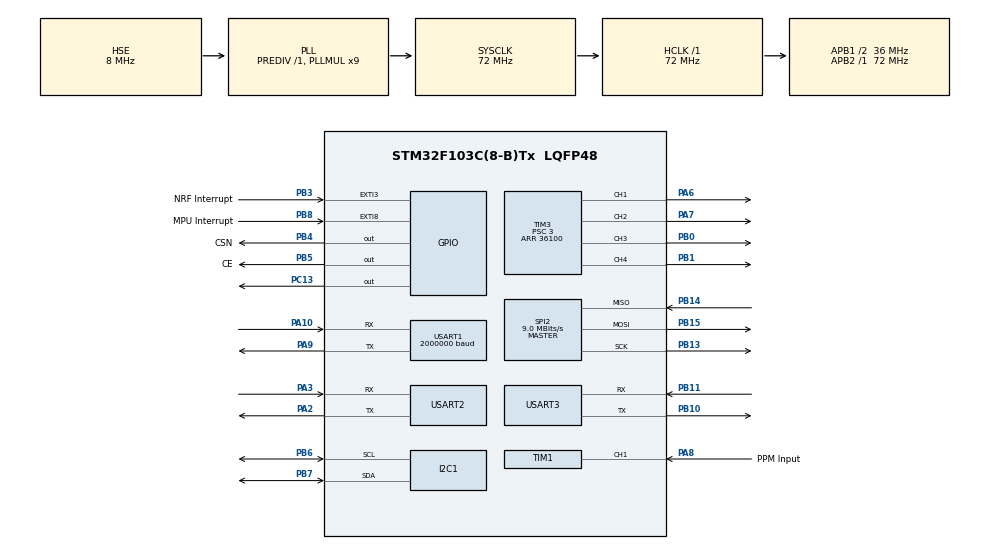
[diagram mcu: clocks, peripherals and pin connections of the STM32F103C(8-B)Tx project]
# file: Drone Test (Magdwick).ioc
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Dma.I2C1_RX.0.Direction=DMA_PERIPH_TO_MEMORY
Dma.I2C1_RX.0.Instance=DMA1_Channel7
Dma.I2C1_RX.0.MemDataAlignment=DMA_MDATAALIGN_BYTE
Dma.I2C1_RX.0.MemInc=DMA_MINC_ENABLE
Dma.I2C1_RX.0.Mode=DMA_NORMAL
Dma.I2C1_RX.0.PeriphDataAlignment=DMA_PDATAALIGN_BYTE
Dma.I2C1_RX.0.PeriphInc=DMA_PINC_DISABLE
Dma.I2C1_RX.0.Priority=DMA_PRIORITY_LOW
Dma.I2C1_TX.1.Direction=DMA_MEMORY_TO_PERIPH
Dma.I2C1_TX.1.Instance=DMA1_Channel6
Dma.I2C1_TX.1.MemDataAlignment=DMA_MDATAALIGN_BYTE
Dma.I2C1_TX.1.MemInc=DMA_MINC_ENABLE
Dma.I2C1_TX.1.Mode=DMA_NORMAL
Dma.I2C1_TX.1.PeriphDataAlignment=DMA_PDATAALIGN_BYTE
Dma.I2C1_TX.1.PeriphInc=DMA_PINC_DISABLE
Dma.I2C1_TX.1.Priority=DMA_PRIORITY_LOW
Dma.Request0=I2C1_RX
Dma.Request1=I2C1_TX
I2C1.I2C_Mode=I2C_Fast
Mcu.Family=STM32F1
Mcu.Name=STM32F103C(8-B)Tx
Mcu.Package=LQFP48
NVIC.DMA1_Channel6_IRQn=true\:0\:0\:false\:false\:true\:false\:true
NVIC.DMA1_Channel7_IRQn=true\:0\:0\:false\:false\:true\:false\:true
NVIC.EXTI3_IRQn=true\:0\:0\:false\:false\:true\:true\:true
NVIC.EXTI9_5_IRQn=true\:0\:0\:false\:false\:true\:true\:true
NVIC.PriorityGroup=NVIC_PRIORITYGROUP_4
NVIC.TIM1_CC_IRQn=true\:0\:0\:false\:false\:true\:true\:true
PA10.Mode=Asynchronous
PA10.Signal=USART1_RX
PA13.Mode=Serial_Wire
PA13.Signal=SYS_JTMS-SWDIO
PA14.Mode=Serial_Wire
PA14.Signal=SYS_JTCK-SWCLK
PA2.Mode=Asynchronous
PA2.Signal=USART2_TX
PA3.Mode=Asynchronous
PA3.Signal=USART2_RX
PA6.Signal=S_TIM3_CH1
PA7.Signal=S_TIM3_CH2
PA8.GPIO_Label=PPM Input
PA8.Signal=S_TIM1_CH1
PA9.Mode=Asynchronous
PA9.Signal=USART1_TX
PB0.Signal=S_TIM3_CH3
PB1.Signal=S_TIM3_CH4
PB10.Mode=Asynchronous
PB10.Signal=USART3_TX
PB11.Mode=Asynchronous
PB11.Signal=USART3_RX
PB13.Mode=Full_Duplex_Master
PB13.Signal=SPI2_SCK
PB14.Mode=Full_Duplex_Master
PB14.Signal=SPI2_MISO
PB15.Mode=Full_Duplex_Master
PB15.Signal=SPI2_MOSI
PB3.GPIO_Label=NRF Interrupt
PB3.Signal=GPXTI3
PB4.GPIO_Label=CSN
PB4.Signal=GPIO_Output
PB5.GPIO_Label=CE
PB5.Signal=GPIO_Output
PB6.Mode=I2C
PB6.Signal=I2C1_SCL
PB7.Mode=I2C
PB7.Signal=I2C1_SDA
PB8.GPIO_Label=MPU Interrupt
PB8.Signal=GPXTI8
PC13-TAMPER-RTC.Signal=GPIO_Output
PD0-OSC_IN.Mode=HSE-External-Oscillator
PD0-OSC_IN.Signal=RCC_OSC_IN
PD1-OSC_OUT.Mode=HSE-External-Oscillator
PD1-OSC_OUT.Signal=RCC_OSC_OUT
ProjectManager.HeapSize=0x200
ProjectManager.StackSize=0x400
ProjectManager.TargetToolchain=MDK-ARM V5
RCC.AHBFreq_Value=72000000
RCC.APB1CLKDivider=RCC_HCLK_DIV2
RCC.APB1Freq_Value=36000000
RCC.APB1TimFreq_Value=72000000
RCC.APB2Freq_Value=72000000
RCC.APB2TimFreq_Value=72000000
RCC.HCLKFreq_Value=72000000
RCC.PLLMUL=RCC_PLL_MUL9
RCC.PLLSourceVirtual=RCC_PLLSOURCE_HSE
RCC.SYSCLKFreq_VALUE=72000000
RCC.SYSCLKSource=RCC_SYSCLKSOURCE_PLLCLK
RCC.USBFreq_Value=48000000
RCC.USBPrescaler=RCC_USBCLKSOURCE_PLL_DIV1_5
SH.S_TIM1_CH1.0=TIM1_CH1,Input_Capture1_from_TI1
SH.S_TIM3_CH1.0=TIM3_CH1,PWM Generation1 CH1
SH.S_TIM3_CH2.0=TIM3_CH2,PWM Generation2 CH2
SH.S_TIM3_CH3.0=TIM3_CH3,PWM Generation3 CH3
SH.S_TIM3_CH4.0=TIM3_CH4,PWM Generation4 CH4
SPI2.BaudRatePrescaler=SPI_BAUDRATEPRESCALER_4
SPI2.CalculateBaudRate=9.0 MBits/s
SPI2.Direction=SPI_DIRECTION_2LINES
SPI2.Mode=SPI_MODE_MASTER
SPI2.VirtualType=VM_MASTER
TIM1.Channel-Input_Capture1_from_TI1=TIM_CHANNEL_1
TIM1.ICFilter_CH1=15
TIM1.Period=65535
TIM1.Prescaler=71
TIM2.Period=18100
TIM3.Channel-PWM\ Generation1\ CH1=TIM_CHANNEL_1
TIM3.Channel-PWM\ Generation2\ CH2=TIM_CHANNEL_2
TIM3.Channel-PWM\ Generation3\ CH3=TIM_CHANNEL_3
TIM3.Channel-PWM\ Generation4\ CH4=TIM_CHANNEL_4
TIM3.OCMode_PWM-PWM\ Generation1\ CH1=TIM_OCMODE_PWM1
TIM3.OCMode_PWM-PWM\ Generation2\ CH2=TIM_OCMODE_PWM1
TIM3.OCMode_PWM-PWM\ Generation3\ CH3=TIM_OCMODE_PWM1
TIM3.OCMode_PWM-PWM\ Generation4\ CH4=TIM_OCMODE_PWM1
TIM3.Period=36100
TIM3.Prescaler=3
USART1.BaudRate=2000000
USART1.VirtualMode=VM_ASYNC
USART2.VirtualMode=VM_ASYNC
USART3.VirtualMode=VM_ASYNC
VP_TIM1_VS_ClockSourceINT.Mode=Internal
VP_TIM2_VS_OPM.Mode=OPM_bit
VP_TIM3_VS_ClockSourceINT.Mode=Internal
board=custom

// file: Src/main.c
/* USER CODE BEGIN Header */
/**
  ******************************************************************************
  * @file           : main.c
  * @brief          : Main program body
  ******************************************************************************
  * @attention
  *
  * <h2><center>&copy; Copyright (c) 2020 STMicroelectronics.
  * All rights reserved.</center></h2>
  *
  * This software component is licensed by ST under BSD 3-Clause license,
  * the "License"; You may not use this file except in compliance with the
  * License. You may obtain a copy of the License at:
  *                        opensource.org/licenses/BSD-3-Clause
  *
  ******************************************************************************
  */
/* USER CODE END Header */

#include "main.h"

/* USER CODE BEGIN Includes */
#include "MadgwickAHRS.h"
#include <math.h>
#include "string.h"
#include "MY_NRF24.h"
#include "string.h"
#include "stdio.h"

/* USER CODE END Includes */

/* USER CODE BEGIN PTD */

typedef struct{
	float p;
	float i;
	float d;
  float tpa_const;
	float i_range;
	float error; //private
	float last_error; //private
	uint64_t current_micros; //private
	uint64_t last_micros; //private
	float elapsed_seconds; //private
}PID_TypeDef;

typedef enum{
	MPU_Slave_Number_0 = 0,
	MPU_Slave_Number_1 = 1,
	MPU_Slave_Number_2 = 2,
	MPU_Slave_Number_3 = 3,
	MPU_Slave_RW_Read = 0x1U,
	MPU_Slave_RW_Write = 0x0U,
	MPU_Slave_RW_Default = 0x0U,
	MPU_Slave_Enable = 0x1U,
	MPU_Slave_Disable = 0x0U,
	MPU_Slave_Byte_Swapping_EN = 0x1U,
	MPU_Slave_Byte_Swapping_DIS = 0x0U,
	MPU_Slave_Byte_Swapping_Default = 0x0U,
	MPU_Slave_REG_DIS_Default = 0x0U,
	MPU_Slave_Byte_Grouping_Even_Odd = 0x0U,
	MPU_Slave_Byte_Grouping_Odd_Even = 0x1U,
	MPU_Slave_Byte_Grouping_Default = 0x0U
}MPU_Slave_StatusTypeDef;

typedef struct{
	uint8_t Slave_Number;//Specifies which slave is used. This struct is for Slave 0 to Slave 3. Slave 4 not yet supported.
	bool RW; //slave read/write select
	uint8_t Periph_Address; //peripheral bus address
	uint8_t Register_Address; //Internal register addess in peripheral to start read from
	bool Slave_Enable; //enables Slave 0 for I2C data transaction
	bool Byte_Swapping; //configures byte swapping of word pairs. When byte swapping is enabled, the high and low bytes of a word pair are swapped.
	bool REG_DIS; //should equal 0 when register address set
	bool Byte_Grouping;//specifies the grouping order of word pairs received from registers
	uint8_t Transfer_Length; //Specifies the number of bytes transferred to and from slave
}MPU_Slave_TypeDef;

typedef enum
{
  Sensor_Read_OK = 0x00U, //everything ok
  Sensor_Read_Error = 0x01U, //fatal error, cant reach sensor
	Sensor_Read_Busy = 0x02U, //fatal error, cant reach sensor
	Sensor_Offset_Measuring = 0x03U, //sensor is offsetting
} Sensor_StatusTypedef;

typedef struct
{
  Sensor_StatusTypedef MPU_Status;
  HAL_StatusTypeDef MPU_Setup_Status;
	Sensor_StatusTypedef BMP_Status;
	HAL_StatusTypeDef BMP_Setup_Status;
	Sensor_StatusTypedef HMC_Status;
	HAL_StatusTypeDef HMC_Setup_Status;
} Sensor_ReturnTypedef;
/* USER CODE END PTD */

/* USER CODE BEGIN PD */
//i2c addresses
#define mpu_i2c_address 0x68
#define bmp_i2c_address 0x76
#define hmc_i2c_address 0x1E

//reciever channel allocations
#define rollIn_ch ch[3]
#define pitchIn_ch ch[1]
#define throttleIn_ch ch[2]
#define yawIn_ch ch[0]

//control endpoints
#define roll_pitch_bankAng_max 30
#define yaw_max_degPsec 200

//hardware peripheral labeling
#define MOTOR_TIMER htim3
/* USER CODE END PD */

I2C_HandleTypeDef hi2c1;
DMA_HandleTypeDef hdma_i2c1_rx;
DMA_HandleTypeDef hdma_i2c1_tx;

SPI_HandleTypeDef hspi2;

TIM_HandleTypeDef htim1;
TIM_HandleTypeDef htim2;
TIM_HandleTypeDef htim3;

UART_HandleTypeDef huart1;
UART_HandleTypeDef huart2;
UART_HandleTypeDef huart3;

/* USER CODE BEGIN PV */
/* Private variables ---------------------------------------------------------*/

//reciever pins connections (top to bottom)
//ppm reciever
//TL motor
//BL motor
//BR motor
//TR motor

_Bool new_data = 0;
_Bool dma_new_receive = 0;
//I2C Variables
uint8_t txBuffer[2];
uint8_t rxBuffer[30];
uint8_t mpu_rx_buffer[26];
int16_t rawData[7];

//Mpu data storage variables
Sensor_ReturnTypedef sensor_status;
float accX, accY, accZ, temp, gyroX, gyroY, gyroZ, gyroX_rad, gyroY_rad, gyroZ_rad; //raw usable data
float accX_raw, accY_raw, accZ_raw, gyroX_raw, gyroY_raw, gyroZ_raw;
float roll, pitch, yaw;
float x_degrees,y_degrees,z_degrees;
float w,x,y,z;

//Mpu settings variables
/*float gyro_sensitivity_scale_factor = 131.0f; //±250deg/s
float gyro_sensitivity_scale_factor = 65.5f; //±500deg/s
float gyro_sensitivity_scale_factor = 32.8f; //±1000deg/s*/
float gyro_sensitivity_scale_factor = 16.4f; //±2000deg/s

/*float acc_sensitivity_scale_factor = 16384.0f; //±2g
float acc_sensitivity_scale_factor = 8192.0f; //±4g
float acc_sensitivity_scale_factor = 4096.0f; //±8g*/
float acc_sensitivity_scale_factor = 2048.0f; //±16g

//Mpu tweaking variables
int32_t gyroX_Offset = 0;
int32_t gyroY_Offset = 0;
int32_t gyroZ_Offset = 0;
float accX_Offset = -45.83873227210463;
float accY_Offset = 315.6486942077451;
float accZ_Offset = -70.77163484576726;
float accX_Scale = 0.997142840160418212890625;
float accY_Scale = 1.0071514293393857421875;
float accZ_Scale = 1.009796179997785986328125;

//Mpu timing variables
unsigned long reading_elapsed_time = 0;
unsigned long reading_last_time = 0;
uint32_t samples = 0;
uint32_t reading_count = 0;
uint32_t this_time = 0;

//Timekeeping Variables
uint16_t loop_freq = 250; //250 hz (desired)
uint32_t loop1_last = 0;
uint32_t loop2_last = 0;
uint32_t loop3_last = 0;
uint32_t loop4_last = 0;
uint32_t loop5_last = 0;
uint32_t time_stamps[8];
//uint32_t loop3_last = 0;
uint32_t system_clock = 0;
uint32_t loop_count = 500;

//Maths variables
const float rad_to_deg = 57.2957795f;
const float deg_to_rad = 1.0f / rad_to_deg;

//nrf24 variables(imported from "NRF24 Tutorial RX" with no changes!)
uint64_t RXpipe_address = 0x11223344AA;
char rx_data[40];
char ack_data[32] = "I have recieved your data";
_Bool nrf24_available = 0;

//ppm reciever input variables
uint32_t ch[8];
uint32_t ch_count = 9;
const uint16_t reciever_low = 996, reciever_mid = 1502, reciever_high = 2016;

//general reciever variables
float receiver_beta = 0.05;//WIP
float rollIn, pitchIn, yawIn, throttleIn;
uint32_t last_signal_micros;
_Bool receiver_signal_loss = 0;

//Pid variables (imported from "Drone Test")
//uint32_t pitch_current_time,pitch_last_time;
//uint32_t roll_current_time,roll_last_time;
//uint32_t yaw_current_time,yaw_last_time;
//double pitch_elapsed_time, roll_elapsed_time, yaw_elapsed_time;
//double pitch_pid_error, pitch_error, pitch_last_error = 0, pitch_p_error, pitch_i_error, pitch_d_error;
//double roll_pid_error, roll_error, roll_last_error = 0, roll_p_error, roll_i_error, roll_d_error;
//double yaw_pid_error, yaw_error, yaw_last_error = 0, yaw_p_error, yaw_i_error, yaw_d_error;
//roll_pid, yaw_pid;
PID_TypeDef pitch_pid, roll_pid, yaw_pid;
#define pM 0.5 //0.5
float pKp =1.5*pM, pKi = 1.5*pM, pKd = 0.5*pM;//1.5 1.5  0.5 (tweak i) (throttle and sticks a bit twitchy)
float rKp = 1.5*pM, rKi = 1.5*pM, rKd = 0.5*pM;
float yKp = 1*pM, yKi = 0.5*pM, yKd = 0*pM;//1 0.5 0 (tweak i)
float tpa_pid_p = 0.14; //reduces pid_p value as throttle increases (0.14)
float pitch_pid_output, roll_pid_output, yaw_pid_output;
#define pid_i_range 10 //10

//Motor variables (ported from "Drone Test")
float motorTR, motorBR, motorBL, motorTL;
const float servo_low = 18000;
const float servo_high = 36000;
bool failsafe = 0;

//Bmp calibration values and constants
uint16_t dig_T1 = 0;
int16_t dig_T2 = 0;
int16_t dig_T3 = 0;
uint16_t dig_P1 = 0;
int16_t dig_P2 = 0;
int16_t dig_P3 = 0;
int16_t dig_P4 = 0;
int16_t dig_P5 = 0;
int16_t dig_P6 = 0;
int16_t dig_P7 = 0;
int16_t dig_P8 = 0;
int16_t dig_P9 = 0;
const float sea_level_press = 101325.0;

//Bmp data
MPU_Slave_TypeDef bmp_slv;
PID_TypeDef altitude_pid;
int32_t temp_raw = 0;
int32_t press_raw = 0;
float pressure, temperature, altitude;

//hmc data
MPU_Slave_TypeDef hmc_slv;
int16_t mag_x_raw = 0, mag_y_raw = 0, mag_z_raw = 0;
float mag_x = 0, mag_y = 0, mag_z = 0;
float hmc_output_scale = 1024.0; //1024 counts/Gauss
const float mag_offset_x = -0.04833999999999994;
const float mag_offset_y = -0.00048800000000004395;
const float mag_offset_z = -0.0449215;
const float mag_scale_x = 0.9557852619889624;
const float mag_scale_y = 1.0583403581326762;
const float mag_scale_z = 0.9912136198171252;

//usb buffer variables (unused)
uint8_t usb_tx_buffer[256];
uint16_t usb_tx_len;

/* USER CODE END PV */

void SystemClock_Config(void);
static void MX_GPIO_Init(void);
static void MX_DMA_Init(void);
static void MX_I2C1_Init(void);
static void MX_USART1_UART_Init(void);
static void MX_SPI2_Init(void);
static void MX_TIM1_Init(void);
static void MX_TIM2_Init(void);
static void MX_USART3_UART_Init(void);
static void MX_TIM3_Init(void);
static void MX_USART2_UART_Init(void);
/* USER CODE BEGIN PFP */
/* Private function prototypes -----------------------------------------------*/

#ifdef __GNUC__
#define PUTCHAR_PROTOTYPE int __io_putchar(int ch)
#else
	#define PUTCHAR_PROTOTYPE int fputc(int ch, FILE *f)
#endif
/* USER CODE END PFP */

/* USER CODE BEGIN 0 */
PUTCHAR_PROTOTYPE{
  HAL_UART_Transmit(&huart1, (uint8_t *)&ch, 1, 0xFFFF);
	return ch;
}
//PUTCHAR_PROTOTYPE  {
//	/*for(int i = 0; i<400; i++){
//		if(CDC_Transmit_FS((uint8_t*)&ch, 1) == USBD_OK)
//		break;
//	}*/
//	while(!(CDC_Transmit_FS((uint8_t*)&ch, 1) == USBD_OK));
//	//while(!(CDC_Transmit_FS((uint8_t*)&ch, 1) == USBD_BUSY));
//	//CDC_Transmit_FS((uint8_t*)&ch, 1);
//	return ch;
//}
float map_v1(float input, float input_low, float input_high, float output_low, float output_high){
	/*if(input<input_low){
		input = input_low;
	}
	else if(input>input_high){
		input = input_high;
	}*/
	return (((input-input_low)/(input_high-input_low))*(output_high-output_low))+output_low;
}
float map_with_midpoint(float input, float input_low, float input_mid, float input_high, float output_low, float output_high){
	float output_mid = (output_high + output_low)/2;
	if(input < input_mid)
		return map_v1(input, input_low, input_mid, output_low, output_mid);
	else if(input_mid <= input )
		return map_v1(input, input_mid, input_high, output_mid, output_high);
}
HAL_StatusTypeDef i2c_device_register_set_verifiy(uint8_t i2c_address, uint8_t register_address, uint8_t data, uint8_t tries){
	uint8_t data_read[1];
	for(int i = 0; i<tries; i++){
		if(HAL_I2C_Mem_Write(&hi2c1, i2c_address<<1, register_address, 1, &data, 1, 100) != HAL_OK){
			printf("i2c tx error\r\n");
		}
		HAL_StatusTypeDef status_rw = HAL_I2C_Mem_Read(&hi2c1, i2c_address<<1, register_address, 1, data_read, 1, 100);
		printf("Status: %i, address: %i, data at the address: %i\r\n", status_rw, register_address, data_read[0]);
		if(data_read[0] == data){
			return HAL_OK;
		}
	}
	if(data_read[0] != data){
			return HAL_ERROR;
	}
}
int32_t compensate_temp(int32_t adc_temp,int32_t *fine_temp) {
	int32_t var1, var2;

	var1 = ((((adc_temp >> 3) - ((int32_t) dig_T1 << 1)))
			* (int32_t) dig_T2) >> 11;
	var2 = (((((adc_temp >> 4) - (int32_t) dig_T1)
			* ((adc_temp >> 4) - (int32_t) dig_T1)) >> 12)
			* (int32_t) dig_T3) >> 14;

	*fine_temp = var1 + var2;
	return (*fine_temp * 5 + 128) >> 8;
}

uint32_t compensate_press(int32_t adc_press,int32_t fine_temp) {
	int64_t var1, var2, p;

	var1 = (int64_t) fine_temp - 128000;
	var2 = var1 * var1 * (int64_t) dig_P6;
	var2 = var2 + ((var1 * (int64_t) dig_P5) << 17);
	var2 = var2 + (((int64_t) dig_P4) << 35);
	var1 = ((var1 * var1 * (int64_t) dig_P3) >> 8)
			+ ((var1 * (int64_t) dig_P2) << 12);
	var1 = (((int64_t) 1 << 47) + var1) * ((int64_t) dig_P1) >> 33;

	if (var1 == 0) {
		return 0;  // avoid exception caused by division by zero
	}

	p = 1048576 - adc_press;
	p = (((p << 31) - var2) * 3125) / var1;
	var1 = ((int64_t) dig_P9 * (p >> 13) * (p >> 13)) >> 25;
	var2 = ((int64_t) dig_P8 * p) >> 19;

	p = ((p + var1 + var2) >> 8) + ((int64_t) dig_P7 << 4);
	return p;
}
void mpu_read(void){
//	if(sensor_status.MPU_Setup_Status == HAL_OK){
//		txBuffer[0] = 0x3B;
//		HAL_StatusTypeDef status = HAL_I2C_Mem_Read(&hi2c1, mpu_i2c_address<<1, 0x3B, 1, mpu_rx_buffer, 26, 100);
//		if(status == HAL_TIMEOUT)
//			status = HAL_ERROR;
//		if(status){
//			sensor_status.MPU_Status = (Sensor_StatusTypedef)status;
//		}
//	}
	//do timekeeping
	for(int i = 0; i<7; i++){
	rawData[i] = mpu_rx_buffer[i*2]<<8 | mpu_rx_buffer[(i*2)+1]; //combine bytes into raw measurements
	}
	//calculate readable raw data
	accX_raw = rawData[0];
	accY_raw = rawData[1];
	accZ_raw = rawData[2];
	gyroX_raw = rawData[4];
	gyroY_raw = rawData[5];
	gyroZ_raw = rawData[6];
	mag_x_raw = mpu_rx_buffer[14] << 8 | mpu_rx_buffer[15];
	mag_y_raw = mpu_rx_buffer[16] << 8 | mpu_rx_buffer[17];
	mag_z_raw = mpu_rx_buffer[18] << 8 | mpu_rx_buffer[19];
	press_raw = mpu_rx_buffer[20]<<12/*msb*/ | mpu_rx_buffer[21]<<4 /*lsb*/ | mpu_rx_buffer[22]>>4; /*xlsb*/
	temp_raw = mpu_rx_buffer[23]<<12/*msb*/ | mpu_rx_buffer[24]<<4 /*lsb*/ | mpu_rx_buffer[25]>>4; /*xlsb*/

	//offset measurement
	if(samples < 500) {
			samples++;
			sensor_status.MPU_Status = Sensor_Offset_Measuring;
			return;
		}
		else if(samples < 1500) {
			gyroX_Offset += (int32_t)gyroX_raw;
			gyroY_Offset += (int32_t)gyroY_raw;
			gyroZ_Offset += (int32_t)gyroZ_raw;
			samples++;
			sensor_status.MPU_Status = Sensor_Offset_Measuring;
			return;
		}
		/*else{
			gyroX_Offset /= 1000;
			gyroY_Offset /= 1000;
			gyroZ_Offset /= 1000;
		}*/

		//calculate raw acc and gyro values
		gyroX_raw -= gyroX_Offset/1000;
		gyroY_raw -= gyroY_Offset/1000;
		gyroZ_raw -= gyroZ_Offset/1000;
		/*gyroX_raw -= gyroX_Offset;
		gyroY_raw -= gyroY_Offset;
		gyroZ_raw -= gyroZ_Offset;*/
		accX_raw = (accX_raw + accX_Offset)*accX_Scale;
		accY_raw = (accY_raw + accY_Offset)*accY_Scale;
		accZ_raw = (accZ_raw + accZ_Offset)*accZ_Scale;

		//calculate real acc and gyro values
		accX = ((float)accX_raw)/acc_sensitivity_scale_factor;
		accY = ((float)accY_raw)/acc_sensitivity_scale_factor;
		accZ = ((float)accZ_raw)/acc_sensitivity_scale_factor;
		temp = (((float)rawData[3])/340) + 36.53;
		gyroX = (((float)(gyroX_raw))/gyro_sensitivity_scale_factor);
		gyroY = (((float)(gyroY_raw))/gyro_sensitivity_scale_factor);
		gyroZ = (((float)(gyroZ_raw))/gyro_sensitivity_scale_factor);

		gyroX_rad = gyroX * deg_to_rad;
		gyroY_rad = gyroY * deg_to_rad;
		gyroZ_rad = gyroZ * deg_to_rad;
		sensor_status.MPU_Status = Sensor_Read_OK;

		//declare temporary bmp variables
		int32_t fine_temp = 0;
		int32_t fixed_temperature = 0;
		uint32_t fixed_pressure= 0;

		//calculate temp and pressure and altitude (bmp)
		fine_temp = 0;
		fixed_temperature = compensate_temp(temp_raw, &fine_temp);
		fixed_pressure = compensate_press(press_raw, fine_temp);

		temperature = (float) fixed_temperature / 100;
		pressure = (float) fixed_pressure / 256;

		if(pressure > 150000 || pressure < 20000 || temperature < -50 || temperature > 165){
			sensor_status.BMP_Status = Sensor_Read_Error;
		}

		altitude = ((powf((sea_level_press/pressure), 0.1902225603956629)-1)*(temperature+273.15))*153.8461538461538;

		//magnetometer calculations
		mag_x = ((mag_x_raw/hmc_output_scale) - mag_offset_x)*mag_scale_x;
		mag_y = ((mag_y_raw/hmc_output_scale) - mag_offset_y)*mag_scale_y;
		mag_z = ((mag_z_raw/hmc_output_scale) - mag_offset_z)*mag_scale_z;
		//note: upon disconection from i2c bus, both bmp and hmc keep returning last updated values and do not hinder the working of the other sensor.
		//Bmp does not get effected from vcc disconnect, however gnd disconnects and vcc disconnect to hmc require a restart to recover and hmc power fault hinders working of bmp as well
		if(mag_x == 0 && mag_y == 0 && mag_z == 0)
			sensor_status.HMC_Status = Sensor_Read_Error;
		else
			sensor_status.HMC_Status = Sensor_Read_OK;
}
uint32_t microseconds(void){
	return system_clock*1000 + ((SysTick->LOAD - SysTick->VAL)/72); //SYSTICK IS A DOWN COUNTER; CHANGE!!!!
}
void QuatToEuler(void){
	float sqw;
	float sqx;
	float sqy;
	float sqz;

	float rotxrad;
	float rotyrad;
	float rotzrad;

	sqw = q0* q0;
	sqx = q1* q1;
	sqy = q2* q2;
	sqz = q3* q3;

	rotxrad = (float) atan2(2.0 * (q2* q3 + q1* q0 ) , ( -sqx - sqy + sqz + sqw ));
	rotyrad = (float) asin(-2.0 * (q1* q3 - q2* q0 ));
	rotzrad = (float) atan2(2.0 * (q1* q2 + q3* q0 ) , (sqx - sqy - sqz + sqw ));

	x_degrees = rotxrad * rad_to_deg;
	y_degrees = rotyrad * rad_to_deg;
	z_degrees = rotzrad * rad_to_deg;
	roll = -x_degrees;
	pitch = y_degrees;
	yaw = -z_degrees;
	return;
}
void nrf24_setup(void){
  NRF24_begin(CE_GPIO_Port,CSN_Pin,CE_Pin,hspi2);
	nrf24_DebugUART_Init(huart1);

	NRF24_openReadingPipe(1,RXpipe_address);
	NRF24_setAutoAck(true);
	NRF24_enableDynamicPayloads();
	NRF24_enableAckPayload();
	NRF24_setChannel(42);
	NRF24_setPayloadSize(32);
	NRF24_setDataRate(RF24_250KBPS);
	NRF24_startListening();
	printRadioSettings();
}
void nrf24_test(void){
	if(nrf24_available){
		nrf24_available = 0;
		NRF24_read(rx_data,32);
		NRF24_writeAckPayload(1,ack_data,32);

		rx_data[32] = '\r'; rx_data[33] = '\n';
		HAL_UART_Transmit(&huart1, (uint8_t*)rx_data,34,10);
		if(rx_data[0] == '0')
			HAL_GPIO_WritePin(GPIOC,GPIO_PIN_13, GPIO_PIN_SET);
		else if(rx_data[0] == '1')
			HAL_GPIO_WritePin(GPIOC,GPIO_PIN_13, GPIO_PIN_RESET);
	}
}
void reciever_print(void){
	for(int i = 0; i<8; i++){
		  printf("CHANNEL %i: %i ", i+1,ch[i]);
		}
  printf("\n");
}
float Pid_calculate_tpa(PID_TypeDef* pid, float current_state, float desired_state, float tpa_input, bool i_ignore){
	float p_error = 0, i_error = 0, d_error = 0;
  pid->last_error = pid->error;
  pid->error = current_state-desired_state;
  pid->last_micros = pid->current_micros;
  pid->current_micros = microseconds();
  pid->elapsed_seconds = (pid->current_micros-pid->last_micros)/ 1000000.0f; //!! eliminate the division by the microseconds period if problems arise !!
  p_error = (pid->p) * (pid->error) * map_v1(tpa_input, 0, 180, 1+pid->tpa_const, 1-pid->tpa_const);
	if(pid->i_range != -1){
	  if((pid->i_range>pid->error)&&(pid->error>-pid->i_range)){
    i_error += pid->i*(pid->error * pid->elapsed_seconds);
		}
		else{
			i_error = 0;
		}
	}

	if(i_ignore){
		i_error = 0;
	}
  d_error = (pid->d*((pid->error-pid->last_error)/pid->elapsed_seconds));
	printf("%f\n", pid->elapsed_seconds);
  return p_error + i_error + d_error;

  /*if(pitch_pid_output > 30)
		pitch_pid_output = 30;
	else if(pitch_pid_output < -30)
		pitch_pid_output = -30;*/
}
void motor_signal_set(bool failsf){
	motorTR = throttleIn;
	motorBR = throttleIn;
	motorBL = throttleIn;
	motorTL = throttleIn;

	//pitch(fix clip protect)
	motorTR -= pitch_pid_output;
	if(motorTR<0){
		motorBR += 0 - motorTR;
		motorTR = 0;
	}
	else if(180<motorTR){
		motorBR += 180 - motorTR;
		motorTR = 180;
	}

	motorBR += pitch_pid_output;
	if(motorBR<0){
		motorTR += 0 - motorBR;
		motorBR = 0;
	}
	else if(180<motorBR){
		motorTR += 180 - motorBR;
		motorBR = 180;
	}

	motorBL += pitch_pid_output;
	if(motorBL<0){
		motorTL += 0 - motorBL;
		motorBL = 0;
	}
	else if(180<motorBL){
		motorTL += 180 - motorBL;
		motorBL = 180;
	}

	motorTL -= pitch_pid_output;
	if(motorTL<0){
		motorBL += 0 - motorTL;
		motorTL = 0;
	}
	else if(180<motorTL){
		motorBL += 180 - motorTL;
		motorTL = 180;
	}

	//roll(fix clip protect)
	motorTR += roll_pid_output;
	if(motorTR<0){
		motorTL += 0 - motorTR;
		motorTR = 0;
	}
	else if(180<motorTR){
		motorTL += 180 - motorTR;
		motorTR = 180;
	}

	motorTL -= roll_pid_output;
	if(motorTL<0){
		motorTR += 0 - motorTL;
		motorTL = 0;
	}
	else if(180<motorTL){
		motorTR += 180 - motorTL;
		motorTL = 180;
	}

	motorBR += roll_pid_output;
	if(motorBR<0){
		motorBL += 0 - motorBR;
		motorBR = 0;
	}
	else if(180<motorBR){
		motorBL += 180 - motorBR;
		motorBR = 180;
	}

	motorBL -= roll_pid_output;
	if(motorBL<0){
		motorBR += 0 - motorBL;
		motorBL = 0;
	}
	else if(180<motorBL){
		motorBR += 180 - motorBL;
		motorBL = 180;
	}

	/*motorTR += yawIn;
	motorBR -= yawIn;
	motorBL += yawIn;
	motorTL -= yawIn;*/

	motorTR += yaw_pid_output;
	motorBR -= yaw_pid_output;
	motorBL += yaw_pid_output;
	motorTL -= yaw_pid_output;

	motorTL = map_v1(motorTL,0,180,servo_low,servo_high);
	motorTR = map_v1(motorTR,0,180,servo_low,servo_high);
	motorBL = map_v1(motorBL,0,180,servo_low,servo_high);
	motorBR = map_v1(motorBR,0,180,servo_low,servo_high);
	//clipping
  if(motorTL<servo_low){
		motorTL = servo_low;
	}
	else if(motorTL>servo_high){
		motorTL = servo_high;
	}
	if(motorTR<servo_low){
		motorTR = servo_low;
	}
	else if(motorTR>servo_high){
		motorTR = servo_high;
	}
	if(motorBL<servo_low){
		motorBL = servo_low;
	}
	else if(motorBL>servo_high){
		motorBL = servo_high;
	}
	if(motorBR<servo_low){
		motorBR = servo_low;
	}
	else if(motorBR>servo_high){
		motorBR = servo_high;
	}
	/*motorTR = servo_low;
	motorBR = servo_high;
	motorBL = servo_low;
	motorTL = servo_high;*/

	//pwm signal set
	if(failsf || (throttleIn < 10)){
		motorTR = servo_low;
		motorBR = servo_low;
		motorBL = servo_low;
		motorTL = servo_low;
	}
	__HAL_TIM_SET_COMPARE(&MOTOR_TIMER, TIM_CHANNEL_1, motorTR); //PA6
	__HAL_TIM_SET_COMPARE(&MOTOR_TIMER, TIM_CHANNEL_2, motorBR); //PA7
	__HAL_TIM_SET_COMPARE(&MOTOR_TIMER, TIM_CHANNEL_3, motorBL); //PB0
	__HAL_TIM_SET_COMPARE(&MOTOR_TIMER, TIM_CHANNEL_4, motorTL); //PB1

//	HAL_TIM_PWM_Start(&MOTOR_TIMER,TIM_CHANNEL_1);
//	HAL_TIM_PWM_Start(&MOTOR_TIMER,TIM_CHANNEL_2);
//	HAL_TIM_PWM_Start(&MOTOR_TIMER,TIM_CHANNEL_3);
//	HAL_TIM_PWM_Start(&MOTOR_TIMER,TIM_CHANNEL_4);
//	HAL_TIM_OnePulse_Start(&MOTOR_TIMER,TIM_CHANNEL_1);
//	HAL_TIM_OnePulse_Start(&MOTOR_TIMER,TIM_CHANNEL_2);
//	HAL_TIM_OnePulse_Start(&MOTOR_TIMER,TIM_CHANNEL_3);
//	HAL_TIM_OnePulse_Start(&MOTOR_TIMER,TIM_CHANNEL_4);
}
void map_reciever_inputs(){

	//WIP Low pass filter
	float rollIn_raw     = map_with_midpoint((float)rollIn_ch, reciever_low, reciever_mid, reciever_high, -roll_pitch_bankAng_max,  roll_pitch_bankAng_max);
	float pitchIn_raw    = -map_with_midpoint((float)pitchIn_ch, reciever_low, reciever_mid, reciever_high, -roll_pitch_bankAng_max,  roll_pitch_bankAng_max);
	float yawIn_raw      = -map_with_midpoint((float)yawIn_ch, reciever_low, reciever_mid, reciever_high, -yaw_max_degPsec,  yaw_max_degPsec);
	float throttleIn_raw = map_with_midpoint((float)throttleIn_ch, reciever_low, reciever_mid, reciever_high,   0.0f, 180.0f);

	rollIn = rollIn_raw;
	pitchIn = pitchIn_raw;
	yawIn = yawIn_raw;
	throttleIn = throttleIn_raw;

	/*rollIn = rollIn - (reciever_beta * (rollIn - rollIn_raw));
	pitchIn = pitchIn - (reciever_beta * (pitchIn - pitchIn_raw));
	yawIn = yawIn - (reciever_beta * (yawIn - yawIn_raw));
	throttleIn = throttleIn - (reciever_beta * (throttleIn - throttleIn_raw));*/

	 /*rollIn     = map_with_midpoint((double)rollIn_ch, reciever_low, reciever_mid, reciever_high, -roll_pitch_bankAng_max,  roll_pitch_bankAng_max);
	 pitchIn    = map_with_midpoint((double)pitchIn_ch, reciever_low, reciever_mid, reciever_high, -roll_pitch_bankAng_max,  roll_pitch_bankAng_max);
	 yawIn      = map_with_midpoint((double)yawIn_ch, reciever_low, reciever_mid, reciever_high, -yaw_max_degPsec,  yaw_max_degPsec);
	 throttleIn = map_with_midpoint((double)throttleIn_ch, reciever_low, reciever_mid, reciever_high,   0.0f, 180.0f);*/
}
void time_stamps_print(uint16_t last_timestamp){
	uint32_t total_time = (time_stamps[last_timestamp] - time_stamps[0]);
	printf("TOTAL PROCESS TAKEN: %i\n", total_time);
	printf("TOTAL TIME: %u\n", reading_elapsed_time);
	printf("CPU USAGE: %f\n", ((float)total_time/(float)reading_elapsed_time)*100.0);
	for(int i = 1; i<last_timestamp; i++){
		printf("TIMESTAMP %i:, %i\n", i, (time_stamps[i] - time_stamps[i-1]));
	}
	printf("\n");
}
HAL_StatusTypeDef mpu_setup(void){
	uint8_t mpu_status = HAL_I2C_IsDeviceReady(&hi2c1, mpu_i2c_address<<1, 10, 100);
	HAL_StatusTypeDef error = 0;
	if(mpu_status == HAL_OK){
		error = i2c_device_register_set_verifiy(mpu_i2c_address,0x6B,0x0, 5); //Power Management 1
		error |= i2c_device_register_set_verifiy(mpu_i2c_address,0x19,15, 5); //Sample rate divider
		error |= i2c_device_register_set_verifiy(mpu_i2c_address,0x1A,0x0, 5); //DLPF Config
  	error |= i2c_device_register_set_verifiy(mpu_i2c_address,0x1B,3<<3, 5); //Gyro Config (2000 d)
  	error |= i2c_device_register_set_verifiy(mpu_i2c_address,0x1C,3<<3, 5); //Acc Config	(16 g)
    error |= i2c_device_register_set_verifiy(mpu_i2c_address,56,1, 5); //Interrupt Config
		error |= i2c_device_register_set_verifiy(mpu_i2c_address,106,0, 5); //Aux i2c master off
		error |= i2c_device_register_set_verifiy(mpu_i2c_address,55,2, 5); //Aux i2c passthrough enable
	}
	else{
		printf("\nMPU Setup: Error at mpu connection: %i\n", mpu_status);
		return mpu_status;
	}
	if(error != HAL_OK){
		printf("\nMPU Setup: Error at mpu setup: %i\n", error);
		return error;
	}
	else{
		printf("MPU Setup successful!\n");
		return HAL_OK;
	}

}
HAL_StatusTypeDef bmp_setup(void){
	HAL_StatusTypeDef error = HAL_OK;
	HAL_StatusTypeDef bmp_status = HAL_I2C_IsDeviceReady(&hi2c1, bmp_i2c_address<<1, 10, 100);
	if(bmp_status == HAL_OK){
		error |= i2c_device_register_set_verifiy(bmp_i2c_address, 0xF4,87, 5); /*Pressure (x16), temperature(x2) oversampling rates and mode(normal) setup*/
		//uint8_t payload = 2<<5 | 5<<2 | 3;
		//error |= bmp_register_set_new(0xF4,payload, 2); /*Pressure (x16), temperature(x2) oversampling rates and mode(normal) setup*/
		error |= i2c_device_register_set_verifiy(bmp_i2c_address, 0xF5,4<<2, 5); //iir filter coefficent 16

	}
	else{
		printf("\nBMP setup: Error at bmp connection: %i\n", bmp_status);
		return bmp_status;
	}
	if(error != HAL_OK){
		printf("\nBMP setup: Error at bmp setup: %i\n", error);
		return error;
	}
	else{
		printf("BMP setup successful!\n");
		return HAL_OK;
	}

}

HAL_StatusTypeDef hmc_setup(void){
	HAL_StatusTypeDef error = HAL_OK;
	HAL_StatusTypeDef hmc_status = HAL_I2C_IsDeviceReady(&hi2c1, hmc_i2c_address<<1, 10, 100);
	if(hmc_status == HAL_OK){
		error |= i2c_device_register_set_verifiy(hmc_i2c_address, 0, 0x6<<2, 5); /*75 hz data output rate*/
		error |= i2c_device_register_set_verifiy(hmc_i2c_address, 1, 0x1<<2, 5); /*1024 counts/Gauss +- 1.2 Gauss accuracy*/
		error |= i2c_device_register_set_verifiy(hmc_i2c_address, 2, 0, 5); /*continous measurement mode*/
	}
	else{
		printf("\nHMC setup: Error at hmc connection: %i\n", hmc_status);
		return hmc_status;
	}
	if(error != HAL_OK){
		printf("\nHMC setup: Error at hmc setup: %i\n", error);
		return error;
	}
	else{
		printf("HMC setup successful!\n");
		return HAL_OK;
	}
}
HAL_StatusTypeDef MPU_Slave_Setup(I2C_HandleTypeDef *hi2c, MPU_Slave_TypeDef *slave){
	uint8_t error = HAL_OK;
	uint8_t mpu_status = HAL_I2C_IsDeviceReady(hi2c, mpu_i2c_address<<1, 10, 100);
	uint8_t Config_Data[3];

	Config_Data[0] = slave->RW<<7 | slave->Periph_Address;
	Config_Data[1] = slave->Register_Address;
	Config_Data[2] = slave->Slave_Enable<<7 | slave->Byte_Swapping<<6 | slave->REG_DIS<<5 | slave->Byte_Grouping<<4 | slave->Transfer_Length;

	if(mpu_status == HAL_OK){
		error |= i2c_device_register_set_verifiy(mpu_i2c_address, 37 + 3*slave->Slave_Number, Config_Data[0], 5);
		error |= i2c_device_register_set_verifiy(mpu_i2c_address, 38 + 3*slave->Slave_Number, Config_Data[1], 5);
		error |= i2c_device_register_set_verifiy(mpu_i2c_address, 39 + 3*slave->Slave_Number, Config_Data[2], 5);
	}
	else{
		printf("\nSlave %i setup: Error at mpu connection: %i\n", slave->Slave_Number, mpu_status);
		return mpu_status;
	}
	if(error != HAL_OK){
		printf("\nSlave %i setup: Error at slave %i setup: %i\n", slave->Slave_Number, slave->Slave_Number, error);
		return error;
	}
	else{
		printf("Slave %i setup successful!\n", slave->Slave_Number);
		return HAL_OK;
	}
}
HAL_StatusTypeDef mpu_master_setup(void){
	HAL_StatusTypeDef error = HAL_OK;
	uint8_t mpu_status = HAL_I2C_IsDeviceReady(&hi2c1, mpu_i2c_address<<1, 10, 100);
	if(mpu_status == HAL_OK){
    //error |= mpu_register_set_new(56,1, 2); //Interrupt Config (maybe add slave interrupts)
		error |= i2c_device_register_set_verifiy(mpu_i2c_address,52,5, 5); //reduces slave access rate to 1/(1+5) samples (normal sample rate/6 = 83.33 hz)
		error |= i2c_device_register_set_verifiy(mpu_i2c_address,103,1<<1 | 1, 5); //slave 0 and 1 reduced access speed
		error |= i2c_device_register_set_verifiy(mpu_i2c_address,36,13, 5); //Aux i2c master setup

		error |= i2c_device_register_set_verifiy(mpu_i2c_address,55,0, 5); //Aux i2c passthrough disable
		error |= i2c_device_register_set_verifiy(mpu_i2c_address,106,32, 5); //Aux i2c master on
	}
	else{
		printf("\nError at mpu master setup: %i\n", mpu_status);
		return mpu_status;
	}
	if(error != HAL_OK){
		printf("\nError at mpu master setup: %i\n", error);
		return error;
	}
	else{
		printf("Mpu master setup successful!\n");
		return HAL_OK;
	}
}
void bmp_read_calib(void){
	txBuffer[0] = 0x88;
	uint8_t status = HAL_I2C_Master_Transmit(&hi2c1, bmp_i2c_address<<1, txBuffer, 1, 100);//set pointer
	status |= HAL_I2C_Master_Receive(&hi2c1, bmp_i2c_address<<1, rxBuffer, 24, 100);//read all data registers
	dig_T1 = rxBuffer[1]<<8 | rxBuffer[0];
	dig_T2 = rxBuffer[3]<<8 | rxBuffer[2];
	dig_T3 = rxBuffer[5]<<8 | rxBuffer[4];
  dig_P1 = rxBuffer[7]<<8 | rxBuffer[6];
	dig_P2 = rxBuffer[9]<<8 | rxBuffer[8];
	dig_P3 = rxBuffer[11]<<8 | rxBuffer[10];
	dig_P4 = rxBuffer[13]<<8 | rxBuffer[12];
	dig_P5 = rxBuffer[15]<<8 | rxBuffer[14];
	dig_P6 = rxBuffer[17]<<8 | rxBuffer[16];
	dig_P7 = rxBuffer[19]<<8 | rxBuffer[18];
	dig_P8 = rxBuffer[21]<<8 | rxBuffer[20];
	dig_P9 = rxBuffer[23]<<8 | rxBuffer[22];
	printf("Status: %i\r\n", status);
}
void mpu_read_dma(void){
	//printf("R");
	if(sensor_status.MPU_Setup_Status == HAL_OK){
		txBuffer[0] = 0x3B;
		HAL_StatusTypeDef status = HAL_I2C_Mem_Read_DMA(&hi2c1, mpu_i2c_address<<1, 0x3B, 1, mpu_rx_buffer, 26);
		if(status == HAL_TIMEOUT)
			status = HAL_ERROR;
		if(status){
			sensor_status.MPU_Status = (Sensor_StatusTypedef)status;
		}
	}
}

/* USER CODE END 0 */

int main(void)
{

  /* MCU Configuration--------------------------------------------------------*/

  /* Reset of all peripherals, Initializes the Flash interface and the Systick. */
  HAL_Init();

  /* Configure the system clock */
  SystemClock_Config();

  /* Initialize all configured peripherals */
  MX_GPIO_Init();
  MX_DMA_Init();
  MX_I2C1_Init();
  MX_USART1_UART_Init();
  MX_SPI2_Init();
  MX_TIM1_Init();
  MX_TIM2_Init();
  MX_USART3_UART_Init();
  MX_TIM3_Init();
  MX_USART2_UART_Init();
  /* USER CODE BEGIN 2 */
	//set sensor setup typedefs
	sensor_status.MPU_Setup_Status = HAL_ERROR;
	sensor_status.HMC_Setup_Status = HAL_ERROR;
	sensor_status.BMP_Setup_Status = HAL_ERROR;

	//set_pid_constants
	pitch_pid.p = pKp;
	pitch_pid.i = pKi;
	pitch_pid.d = pKd;
	pitch_pid.tpa_const = tpa_pid_p;
	pitch_pid.i_range = pid_i_range;

	roll_pid.p = rKp;
	roll_pid.i = rKi;
	roll_pid.d = rKd;
	roll_pid.tpa_const = tpa_pid_p;
	roll_pid.i_range = pid_i_range;

	yaw_pid.p = yKp;
	yaw_pid.i = yKi;
	yaw_pid.d = yKd;
	yaw_pid.tpa_const = tpa_pid_p;
	yaw_pid.i_range = pid_i_range;

	//hmc slave typedef setup
	hmc_slv.Slave_Number = MPU_Slave_Number_0;
	hmc_slv.Byte_Grouping = MPU_Slave_Byte_Grouping_Default;
	hmc_slv.Byte_Swapping = MPU_Slave_Byte_Swapping_Default;
	hmc_slv.Periph_Address = hmc_i2c_address;
	hmc_slv.Register_Address = 0x3;
	hmc_slv.REG_DIS = MPU_Slave_REG_DIS_Default;
	hmc_slv.RW = MPU_Slave_RW_Read;
	hmc_slv.Slave_Enable = MPU_Slave_Enable;
	hmc_slv.Transfer_Length = 6;

	//bmp slave typedef setup
	bmp_slv.Slave_Number = MPU_Slave_Number_1;
	bmp_slv.Byte_Grouping = MPU_Slave_Byte_Grouping_Default;
	bmp_slv.Byte_Swapping = MPU_Slave_Byte_Swapping_Default;
	bmp_slv.Periph_Address = bmp_i2c_address;
	bmp_slv.Register_Address = 0xF7;
	bmp_slv.REG_DIS = MPU_Slave_REG_DIS_Default;
	bmp_slv.RW = MPU_Slave_RW_Read;
	bmp_slv.Slave_Enable = MPU_Slave_Enable;
	bmp_slv.Transfer_Length = 6;

	  SysTick_Config(SystemCoreClock/1000);//set systick up
//		mpu_register_set_new(0x19,15); //Sample rate divider
//		while(true)
//			printf("%i ", mpu_register_read(117));

		//timer start
		HAL_TIM_PWM_Start(&MOTOR_TIMER,TIM_CHANNEL_1);
		HAL_TIM_PWM_Start(&MOTOR_TIMER,TIM_CHANNEL_2);
		HAL_TIM_PWM_Start(&MOTOR_TIMER,TIM_CHANNEL_3);
		HAL_TIM_PWM_Start(&MOTOR_TIMER,TIM_CHANNEL_4);

		//nrf24_setup();
		HAL_TIM_IC_Start_IT(&htim1,TIM_CHANNEL_1); //ppm recieve start
		loop1_last = microseconds();
		loop2_last = microseconds();

		//sensor setups
		sensor_status.MPU_Setup_Status = mpu_setup();
		if(sensor_status.MPU_Setup_Status != HAL_OK){
			HAL_GPIO_WritePin(GPIOC,GPIO_PIN_13,GPIO_PIN_RESET);
			//HAL_NVIC_SystemReset();
			while(1);
		}
		sensor_status.HMC_Setup_Status = hmc_setup();
		sensor_status.BMP_Setup_Status = bmp_setup();
		bmp_read_calib();

		//set bmp280 as slave 0
		if(sensor_status.HMC_Setup_Status == HAL_OK || sensor_status.MPU_Setup_Status == HAL_OK){
			sensor_status.HMC_Setup_Status = MPU_Slave_Setup(&hi2c1, &hmc_slv);
		}
		//set hmc5883 as slave 1
		if(sensor_status.BMP_Setup_Status == HAL_OK || sensor_status.MPU_Setup_Status == HAL_OK){
			sensor_status.BMP_Setup_Status = MPU_Slave_Setup(&hi2c1, &bmp_slv);
		}
		//mpu master setup
		HAL_StatusTypeDef mpu_master_setup_status = mpu_master_setup();
		if(mpu_master_setup_status != HAL_OK){
			sensor_status.HMC_Setup_Status = HAL_ERROR;
			sensor_status.BMP_Setup_Status = HAL_ERROR;
		}
  /* USER CODE END 2 */

  /* Infinite loop */
  while (1)
  {

    /* USER CODE BEGIN 3 */
		//if(new_data){
		if(dma_new_receive){
			time_stamps[0] = microseconds();

			HAL_GPIO_WritePin(CE_GPIO_Port,CE_Pin,GPIO_PIN_SET);
			new_data = 0;
			dma_new_receive = 0;
			mpu_read(); //optimisable

			time_stamps[1] = microseconds();

			if(sensor_status.MPU_Status == Sensor_Read_OK){
				MadgwickAHRSupdateIMU(gyroX_rad, gyroY_rad, gyroZ_rad, accX, accY, accZ);//unoptimisable
			}
//			this_time = microseconds();
//			reading_elapsed_time = this_time - reading_last_time;
//			reading_last_time = this_time;
			QuatToEuler();//partly optimisable

			time_stamps[2] = microseconds();

			map_reciever_inputs();

//			rollPidCompute();
//			pitchPidCompute();
//		  yawPidCompute();

			bool i_ignore = (failsafe == 1 || throttleIn < 10);
			roll_pid_output = Pid_calculate_tpa(&roll_pid, roll, rollIn,  throttleIn, i_ignore);
			pitch_pid_output = Pid_calculate_tpa(&pitch_pid, pitch, pitchIn,  throttleIn, i_ignore);
			yaw_pid_output  = Pid_calculate_tpa(&yaw_pid, gyroZ, yawIn, throttleIn, i_ignore);

			time_stamps[3] = microseconds();

			loop3_last = microseconds();

			if(loop_count>450 && loop_count<510 && (microseconds()-last_signal_micros)<100000){
				failsafe = 0;
				motor_signal_set(failsafe);
				HAL_GPIO_WritePin(GPIOC,GPIO_PIN_13,GPIO_PIN_SET);
			}
			else{
				failsafe = 1;
				motor_signal_set(failsafe);
				HAL_GPIO_WritePin(GPIOC,GPIO_PIN_13,GPIO_PIN_RESET);
				//HAL_NVIC_SystemReset();
			}
			reading_count++;
			//printf("%f\n", gyroY_rad*rad_to_deg);
			time_stamps[4] = microseconds();
			HAL_GPIO_WritePin(CE_GPIO_Port,CE_Pin,GPIO_PIN_RESET);
		}
		if(system_clock - loop1_last> 1000){
			loop_count = reading_count;
		  loop1_last = system_clock;
			reading_count = 0;
		}

		/*if(1/((microseconds() - loop3_last)/1000000)> 200){
		  //Add motor set to here igf you want to run slower than loop freq
		}*/

		if(system_clock - loop2_last> 250){
			loop2_last = system_clock;
			uint32_t start_a = microseconds();

			//CDC_Transmit_FS(pack, strlen((char *)pack));
//			printf("ROLL : %f\n",roll);
//			printf("PITCH : %f\n",pitch);
//			printf("YAW : %f\n",yaw);
//			printf("MAGX : %f\n",mag_x);
//			printf("MAGY : %f\n",mag_y);
//			printf("MAGZ : %f\n",mag_z);
//			printf("TEMP : %f\n",temperature);
//			printf("PRES : %f\n",pressure);
//			printf("ALT : %f\n",altitude);
//			printf("TL%f\n", motorTL);
//			printf("TR%f\n", motorTR);
//			printf("BL%f\n", motorBL);
//			printf("%f\n", motorBR);
//			printf("%f\n", ((motorBR + motorBL + motorTL + motorTR)/4)/(map_with_midpoint(throttleIn_ch, reciever_low, reciever_mid, reciever_high, 18000, 36000)));
//			printf("ROLL IN  : %f\n",rollIn);
//			printf("PITCH IN : %f\n",pitchIn);
//			printf("YAW IN   : %f\n",yawIn);
//			printf("THRO IN   : %f\n",throttleIn);
//			printf("X%f\n",accX_raw);
//			printf("Y%f\n",accY_raw);
//			printf("Z%f\n",accZ_raw);
//			printf("GYX : %f\n",gyroX);
//			printf("GYY : %f\n",gyroY);
//			printf("GYZ : %f\n",gyroZ);
//			reciever_print();
//			time_stamps_print(4);
//			printf("L count a: %i\n",loop_count);
//			printf("STATUS:: MPU: %i BMP: %i HMC: %i\n",sensor_status.MPU_Setup_Status, sensor_status.BMP_Setup_Status, sensor_status.HMC_Setup_Status);
				//printf("Print time: %i\n",(microseconds()-start_a));
		}
		//nrf24_test();
  }
  /* USER CODE END 3 */
}

void SystemClock_Config(void)
{
  RCC_OscInitTypeDef RCC_OscInitStruct = {0};
  RCC_ClkInitTypeDef RCC_ClkInitStruct = {0};

  /** Initializes the CPU, AHB and APB busses clocks
  */
  RCC_OscInitStruct.OscillatorType = RCC_OSCILLATORTYPE_HSE;
  RCC_OscInitStruct.HSEState = RCC_HSE_ON;
  RCC_OscInitStruct.HSEPredivValue = RCC_HSE_PREDIV_DIV1;
  RCC_OscInitStruct.HSIState = RCC_HSI_ON;
  RCC_OscInitStruct.PLL.PLLState = RCC_PLL_ON;
  RCC_OscInitStruct.PLL.PLLSource = RCC_PLLSOURCE_HSE;
  RCC_OscInitStruct.PLL.PLLMUL = RCC_PLL_MUL9;
  if (HAL_RCC_OscConfig(&RCC_OscInitStruct) != HAL_OK)
  {
    Error_Handler();
  }
  /** Initializes the CPU, AHB and APB busses clocks
  */
  RCC_ClkInitStruct.ClockType = RCC_CLOCKTYPE_HCLK|RCC_CLOCKTYPE_SYSCLK
                              |RCC_CLOCKTYPE_PCLK1|RCC_CLOCKTYPE_PCLK2;
  RCC_ClkInitStruct.SYSCLKSource = RCC_SYSCLKSOURCE_PLLCLK;
  RCC_ClkInitStruct.AHBCLKDivider = RCC_SYSCLK_DIV1;
  RCC_ClkInitStruct.APB1CLKDivider = RCC_HCLK_DIV2;
  RCC_ClkInitStruct.APB2CLKDivider = RCC_HCLK_DIV1;

  if (HAL_RCC_ClockConfig(&RCC_ClkInitStruct, FLASH_LATENCY_2) != HAL_OK)
  {
    Error_Handler();
  }
}

static void MX_I2C1_Init(void)
{

  hi2c1.Instance = I2C1;
  hi2c1.Init.ClockSpeed = 400000;
  hi2c1.Init.DutyCycle = I2C_DUTYCYCLE_2;
  hi2c1.Init.OwnAddress1 = 0;
  hi2c1.Init.AddressingMode = I2C_ADDRESSINGMODE_7BIT;
  hi2c1.Init.DualAddressMode = I2C_DUALADDRESS_DISABLE;
  hi2c1.Init.OwnAddress2 = 0;
  hi2c1.Init.GeneralCallMode = I2C_GENERALCALL_DISABLE;
  hi2c1.Init.NoStretchMode = I2C_NOSTRETCH_DISABLE;
  if (HAL_I2C_Init(&hi2c1) != HAL_OK)
  {
    Error_Handler();
  }

}

static void MX_SPI2_Init(void)
{

  /* SPI2 parameter configuration*/
  hspi2.Instance = SPI2;
  hspi2.Init.Mode = SPI_MODE_MASTER;
  hspi2.Init.Direction = SPI_DIRECTION_2LINES;
  hspi2.Init.DataSize = SPI_DATASIZE_8BIT;
  hspi2.Init.CLKPolarity = SPI_POLARITY_LOW;
  hspi2.Init.CLKPhase = SPI_PHASE_1EDGE;
  hspi2.Init.NSS = SPI_NSS_SOFT;
  hspi2.Init.BaudRatePrescaler = SPI_BAUDRATEPRESCALER_4;
  hspi2.Init.FirstBit = SPI_FIRSTBIT_MSB;
  hspi2.Init.TIMode = SPI_TIMODE_DISABLE;
  hspi2.Init.CRCCalculation = SPI_CRCCALCULATION_DISABLE;
  hspi2.Init.CRCPolynomial = 10;
  if (HAL_SPI_Init(&hspi2) != HAL_OK)
  {
    Error_Handler();
  }

}

static void MX_TIM1_Init(void)
{

  TIM_ClockConfigTypeDef sClockSourceConfig = {0};
  TIM_MasterConfigTypeDef sMasterConfig = {0};
  TIM_IC_InitTypeDef sConfigIC = {0};

  htim1.Instance = TIM1;
  htim1.Init.Prescaler = 71;
  htim1.Init.CounterMode = TIM_COUNTERMODE_UP;
  htim1.Init.Period = 65535;
  htim1.Init.ClockDivision = TIM_CLOCKDIVISION_DIV1;
  htim1.Init.RepetitionCounter = 0;
  htim1.Init.AutoReloadPreload = TIM_AUTORELOAD_PRELOAD_DISABLE;
  if (HAL_TIM_Base_Init(&htim1) != HAL_OK)
  {
    Error_Handler();
  }
  sClockSourceConfig.ClockSource = TIM_CLOCKSOURCE_INTERNAL;
  if (HAL_TIM_ConfigClockSource(&htim1, &sClockSourceConfig) != HAL_OK)
  {
    Error_Handler();
  }
  if (HAL_TIM_IC_Init(&htim1) != HAL_OK)
  {
    Error_Handler();
  }
  sMasterConfig.MasterOutputTrigger = TIM_TRGO_RESET;
  sMasterConfig.MasterSlaveMode = TIM_MASTERSLAVEMODE_DISABLE;
  if (HAL_TIMEx_MasterConfigSynchronization(&htim1, &sMasterConfig) != HAL_OK)
  {
    Error_Handler();
  }
  sConfigIC.ICPolarity = TIM_INPUTCHANNELPOLARITY_RISING;
  sConfigIC.ICSelection = TIM_ICSELECTION_DIRECTTI;
  sConfigIC.ICPrescaler = TIM_ICPSC_DIV1;
  sConfigIC.ICFilter = 15;
  if (HAL_TIM_IC_ConfigChannel(&htim1, &sConfigIC, TIM_CHANNEL_1) != HAL_OK)
  {
    Error_Handler();
  }

}

static void MX_TIM2_Init(void)
{

  htim2.Instance = TIM2;
  htim2.Init.Prescaler = 0;
  htim2.Init.CounterMode = TIM_COUNTERMODE_UP;
  htim2.Init.Period = 18100;
  htim2.Init.ClockDivision = TIM_CLOCKDIVISION_DIV1;
  htim2.Init.AutoReloadPreload = TIM_AUTORELOAD_PRELOAD_DISABLE;
  if (HAL_TIM_OnePulse_Init(&htim2, TIM_OPMODE_SINGLE) != HAL_OK)
  {
    Error_Handler();
  }

}

static void MX_TIM3_Init(void)
{

  TIM_ClockConfigTypeDef sClockSourceConfig = {0};
  TIM_MasterConfigTypeDef sMasterConfig = {0};
  TIM_OC_InitTypeDef sConfigOC = {0};

  htim3.Instance = TIM3;
  htim3.Init.Prescaler = 3;
  htim3.Init.CounterMode = TIM_COUNTERMODE_UP;
  htim3.Init.Period = 36100;
  htim3.Init.ClockDivision = TIM_CLOCKDIVISION_DIV1;
  htim3.Init.AutoReloadPreload = TIM_AUTORELOAD_PRELOAD_DISABLE;
  if (HAL_TIM_Base_Init(&htim3) != HAL_OK)
  {
    Error_Handler();
  }
  sClockSourceConfig.ClockSource = TIM_CLOCKSOURCE_INTERNAL;
  if (HAL_TIM_ConfigClockSource(&htim3, &sClockSourceConfig) != HAL_OK)
  {
    Error_Handler();
  }
  if (HAL_TIM_PWM_Init(&htim3) != HAL_OK)
  {
    Error_Handler();
  }
  sMasterConfig.MasterOutputTrigger = TIM_TRGO_RESET;
  sMasterConfig.MasterSlaveMode = TIM_MASTERSLAVEMODE_DISABLE;
  if (HAL_TIMEx_MasterConfigSynchronization(&htim3, &sMasterConfig) != HAL_OK)
  {
    Error_Handler();
  }
  sConfigOC.OCMode = TIM_OCMODE_PWM1;
  sConfigOC.Pulse = 0;
  sConfigOC.OCPolarity = TIM_OCPOLARITY_HIGH;
  sConfigOC.OCFastMode = TIM_OCFAST_DISABLE;
  if (HAL_TIM_PWM_ConfigChannel(&htim3, &sConfigOC, TIM_CHANNEL_1) != HAL_OK)
  {
    Error_Handler();
  }
  if (HAL_TIM_PWM_ConfigChannel(&htim3, &sConfigOC, TIM_CHANNEL_2) != HAL_OK)
  {
    Error_Handler();
  }
  if (HAL_TIM_PWM_ConfigChannel(&htim3, &sConfigOC, TIM_CHANNEL_3) != HAL_OK)
  {
    Error_Handler();
  }
  if (HAL_TIM_PWM_ConfigChannel(&htim3, &sConfigOC, TIM_CHANNEL_4) != HAL_OK)
  {
    Error_Handler();
  }
  HAL_TIM_MspPostInit(&htim3);

}

static void MX_USART1_UART_Init(void)
{

  huart1.Instance = USART1;
  huart1.Init.BaudRate = 2000000;
  huart1.Init.WordLength = UART_WORDLENGTH_8B;
  huart1.Init.StopBits = UART_STOPBITS_1;
  huart1.Init.Parity = UART_PARITY_NONE;
  huart1.Init.Mode = UART_MODE_TX_RX;
  huart1.Init.HwFlowCtl = UART_HWCONTROL_NONE;
  huart1.Init.OverSampling = UART_OVERSAMPLING_16;
  if (HAL_UART_Init(&huart1) != HAL_OK)
  {
    Error_Handler();
  }

}

static void MX_USART2_UART_Init(void)
{

  huart2.Instance = USART2;
  huart2.Init.BaudRate = 115200;
  huart2.Init.WordLength = UART_WORDLENGTH_8B;
  huart2.Init.StopBits = UART_STOPBITS_1;
  huart2.Init.Parity = UART_PARITY_NONE;
  huart2.Init.Mode = UART_MODE_TX_RX;
  huart2.Init.HwFlowCtl = UART_HWCONTROL_NONE;
  huart2.Init.OverSampling = UART_OVERSAMPLING_16;
  if (HAL_UART_Init(&huart2) != HAL_OK)
  {
    Error_Handler();
  }

}

static void MX_USART3_UART_Init(void)
{

  huart3.Instance = USART3;
  huart3.Init.BaudRate = 115200;
  huart3.Init.WordLength = UART_WORDLENGTH_8B;
  huart3.Init.StopBits = UART_STOPBITS_1;
  huart3.Init.Parity = UART_PARITY_NONE;
  huart3.Init.Mode = UART_MODE_TX_RX;
  huart3.Init.HwFlowCtl = UART_HWCONTROL_NONE;
  huart3.Init.OverSampling = UART_OVERSAMPLING_16;
  if (HAL_UART_Init(&huart3) != HAL_OK)
  {
    Error_Handler();
  }

}

static void MX_DMA_Init(void)
{

  /* DMA controller clock enable */
  __HAL_RCC_DMA1_CLK_ENABLE();

  /* DMA interrupt init */
  /* DMA1_Channel6_IRQn interrupt configuration */
  HAL_NVIC_SetPriority(DMA1_Channel6_IRQn, 0, 0);
  HAL_NVIC_EnableIRQ(DMA1_Channel6_IRQn);
  /* DMA1_Channel7_IRQn interrupt configuration */
  HAL_NVIC_SetPriority(DMA1_Channel7_IRQn, 0, 0);
  HAL_NVIC_EnableIRQ(DMA1_Channel7_IRQn);

}

static void MX_GPIO_Init(void)
{
  GPIO_InitTypeDef GPIO_InitStruct = {0};

  /* GPIO Ports Clock Enable */
  __HAL_RCC_GPIOC_CLK_ENABLE();
  __HAL_RCC_GPIOD_CLK_ENABLE();
  __HAL_RCC_GPIOA_CLK_ENABLE();
  __HAL_RCC_GPIOB_CLK_ENABLE();

  /*Configure GPIO pin Output Level */
  HAL_GPIO_WritePin(GPIOC, GPIO_PIN_13, GPIO_PIN_RESET);

  /*Configure GPIO pin Output Level */
  HAL_GPIO_WritePin(GPIOB, CSN_Pin|CE_Pin, GPIO_PIN_RESET);

  /*Configure GPIO pin : PC13 */
  GPIO_InitStruct.Pin = GPIO_PIN_13;
  GPIO_InitStruct.Mode = GPIO_MODE_OUTPUT_PP;
  GPIO_InitStruct.Pull = GPIO_NOPULL;
  GPIO_InitStruct.Speed = GPIO_SPEED_FREQ_LOW;
  HAL_GPIO_Init(GPIOC, &GPIO_InitStruct);

  /*Configure GPIO pins : NRF_Interrupt_Pin MPU_Interrupt_Pin */
  GPIO_InitStruct.Pin = NRF_Interrupt_Pin|MPU_Interrupt_Pin;
  GPIO_InitStruct.Mode = GPIO_MODE_IT_RISING;
  GPIO_InitStruct.Pull = GPIO_NOPULL;
  HAL_GPIO_Init(GPIOB, &GPIO_InitStruct);

  /*Configure GPIO pins : CSN_Pin CE_Pin */
  GPIO_InitStruct.Pin = CSN_Pin|CE_Pin;
  GPIO_InitStruct.Mode = GPIO_MODE_OUTPUT_PP;
  GPIO_InitStruct.Pull = GPIO_NOPULL;
  GPIO_InitStruct.Speed = GPIO_SPEED_FREQ_LOW;
  HAL_GPIO_Init(GPIOB, &GPIO_InitStruct);

  /* EXTI interrupt init*/
  HAL_NVIC_SetPriority(EXTI3_IRQn, 0, 0);
  HAL_NVIC_EnableIRQ(EXTI3_IRQn);

  HAL_NVIC_SetPriority(EXTI9_5_IRQn, 0, 0);
  HAL_NVIC_EnableIRQ(EXTI9_5_IRQn);

}

/* USER CODE BEGIN 4 */
void HAL_TIM_PeriodElapsedCallback(TIM_HandleTypeDef *htim)
{
	receiver_signal_loss = 1;
}

void HAL_I2C_MemTxCpltCallback(I2C_HandleTypeDef *hi2c)
{
	//printf("w");//remove
}

void HAL_I2C_MemRxCpltCallback(I2C_HandleTypeDef *hi2c)
{
	//printf("r");//remove
	dma_new_receive = 1;
}
/* USER CODE END 4 */

void Error_Handler(void)
{
  while(1)
  {
  }
}

/************************ (C) COPYRIGHT STMicroelectronics *****END OF FILE****/
